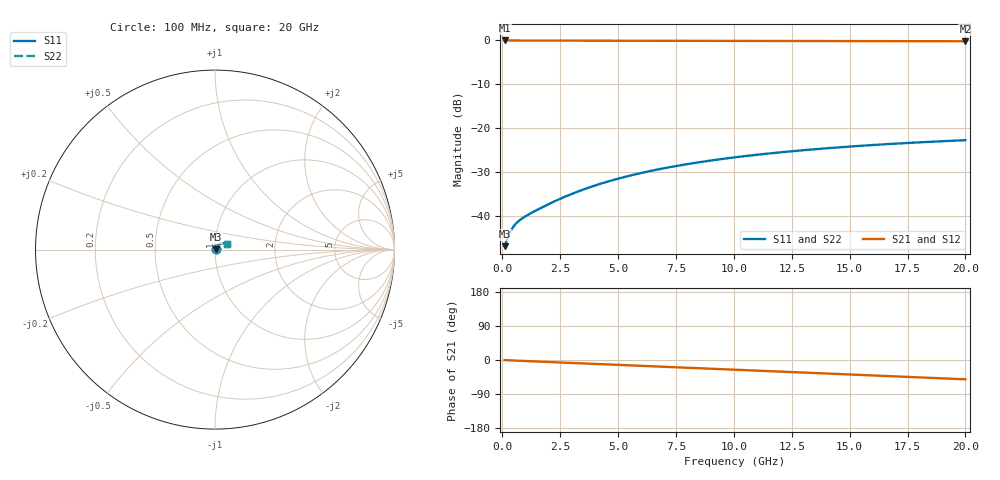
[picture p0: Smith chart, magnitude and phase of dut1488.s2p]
! Touchstone file exported from HFSS 2026.1.0
!  File:  C:/ffzhzh/LocalFiles/Ansys_Project_Files/temp_train_TMRDL_1488_1783167820_43440.aedt
!  Generated:  08:24:53 PM Jul  4, 2026
!  Design:  TMRDL
!  Project:  temp_train_TMRDL_1488_1783167820_43440
! Variables:
!  h_bsmrdl = 2um
!  h_ox = 20um
!  h_rdl = 5um
!  h_sub = 80um
!  h_tmrdl = 2.79um
!  h_tsv = 80um
!  h_via = 3um
!  l_bsmrdl = 300um
!  l_sub = 1296.83um
!  l_tmrdl = 896.83um
!  m_sub = 200um
!  pitch = 34.03um
!  r_tsv = 6um
!  s_tmrdl = 10um
!  w_bsmrdl = 18um
!  w_sub = 500um
!  w_tmrdl = 28.57um
!  x_tsv_center1 = 911.115um
!  x_tsv_center2 = 1229.115um
!  x_tsv_center3 = 2154.515um
!  x_tsv_center4 = 2472.515um
!  x_tsv_center5 = 3397.915um
!  x_tsv_center6 = 3715.915um
# GHz S MA R 50.000000
! Terminal data exported
! Port[1] = TM_RDL1_1_T1
! Port[2] = TM_RDL1_1_T2
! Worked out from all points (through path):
!   200 points, 100 MHz to 20 GHz, reference 50 ohm
!   highest |S21| = -0.04 dB at 100 MHz (marker M1); lowest = -0.2 dB at 20 GHz (marker M2)
!   group delay of S21, straight-line fit = 7.06 ps
!   lowest |S11| = -46.8 dB at 100 MHz (marker M3), VSWR 1.01, Z = 50.4 + j0.13 ohm
!   |S11| at or under -10 dB: start of sweep to end of sweep
!   |S22| runs from -46.8 to -22.7 dB; largest |S21 - S12| = 2.7e-15
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0.1  0.004561 16.4  0.9956 -0.3  0.9956 -0.3  0.004561 16.4
! Gamma 0 0 0 0
! Port Impedance 50 0 50 0
0.2  0.005388 26.3  0.9952 -0.6  0.9952 -0.6  0.005387 26.3
0.3  0.006285 30.8  0.9946 -0.9  0.9946 -0.9  0.006285 30.9
0.4  0.007077 32.9  0.9941 -1.2  0.9941 -1.2  0.007077 32.9
0.5  0.007737 34.1  0.9937 -1.4  0.9937 -1.4  0.007737 34.1
0.6  0.008289 34.9  0.9933 -1.7  0.9933 -1.7  0.008289 34.9
0.8  0.009189 36.6  0.9928 -2.2  0.9928 -2.2  0.009189 36.6
1  0.009958 38.5  0.9925 -2.7  0.9925 -2.7  0.009958 38.5
1.3  0.01105 41.6  0.9922 -3.5  0.9922 -3.5  0.01105 41.6
2  0.01372 47.6  0.9917 -5.3  0.9917 -5.3  0.01372 47.6
2.7  0.01662 51.5  0.9912 -7.1  0.9912 -7.1  0.01662 51.5
3.5  0.0201 53.7  0.9907 -9.1  0.9907 -9.1  0.0201 53.7
4.2  0.02319 54.5  0.9901 -10.9  0.9901 -10.9  0.02319 54.5
5  0.0267 54.4  0.9894 -13.0  0.9894 -13.0  0.0267 54.4
5.9  0.03058 53.6  0.9885 -15.3  0.9885 -15.3  0.03059 53.6
6.8  0.03434 52.4  0.9876 -17.6  0.9876 -17.6  0.03435 52.4
8.4  0.04068 49.5  0.9858 -21.7  0.9858 -21.7  0.04069 49.4
10.1  0.04689 45.9  0.984 -26.0  0.984 -26.0  0.0469 45.9
11.7  0.05224 42.4  0.9823 -30.1  0.9823 -30.1  0.05226 42.3
13.4  0.05744 38.5  0.9806 -34.4  0.9806 -34.4  0.05747 38.5
16.7  0.06615 31.0  0.9776 -42.7  0.9776 -42.7  0.0662 30.9
20  0.07313 23.4  0.975 -50.9  0.975 -50.9  0.07318 23.3
